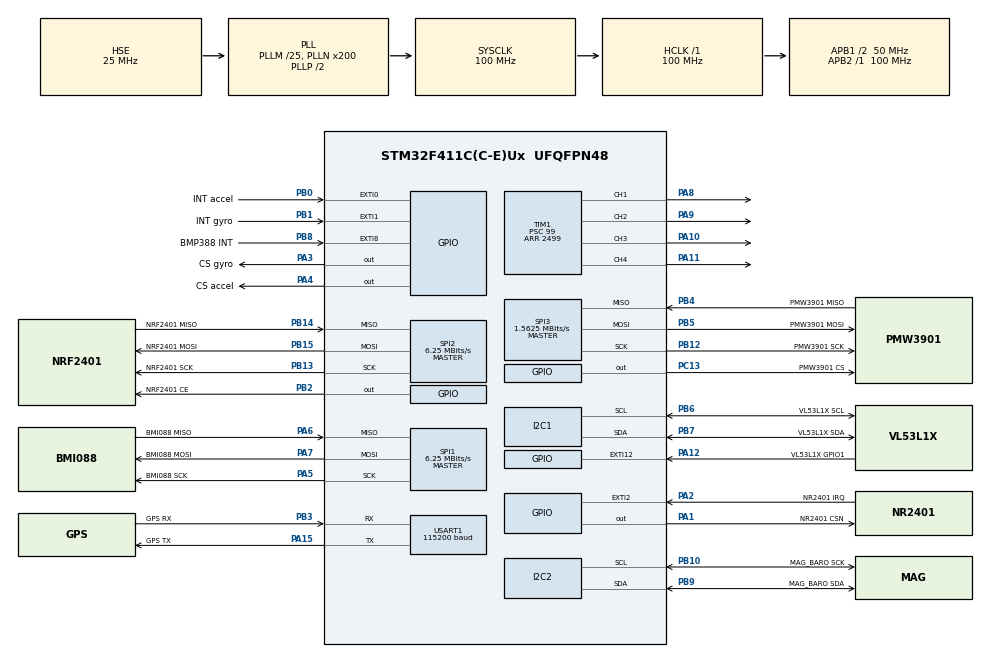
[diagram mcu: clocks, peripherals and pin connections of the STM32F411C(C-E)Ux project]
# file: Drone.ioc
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Dma.I2C1_RX.6.Direction=DMA_PERIPH_TO_MEMORY
Dma.I2C1_RX.6.FIFOMode=DMA_FIFOMODE_DISABLE
Dma.I2C1_RX.6.Instance=DMA1_Stream5
Dma.I2C1_RX.6.MemDataAlignment=DMA_MDATAALIGN_BYTE
Dma.I2C1_RX.6.MemInc=DMA_MINC_ENABLE
Dma.I2C1_RX.6.Mode=DMA_NORMAL
Dma.I2C1_RX.6.PeriphDataAlignment=DMA_PDATAALIGN_BYTE
Dma.I2C1_RX.6.PeriphInc=DMA_PINC_DISABLE
Dma.I2C1_RX.6.Priority=DMA_PRIORITY_HIGH
Dma.I2C2_RX.4.Direction=DMA_PERIPH_TO_MEMORY
Dma.I2C2_RX.4.FIFOMode=DMA_FIFOMODE_DISABLE
Dma.I2C2_RX.4.Instance=DMA1_Stream2
Dma.I2C2_RX.4.MemDataAlignment=DMA_MDATAALIGN_BYTE
Dma.I2C2_RX.4.MemInc=DMA_MINC_ENABLE
Dma.I2C2_RX.4.Mode=DMA_NORMAL
Dma.I2C2_RX.4.PeriphDataAlignment=DMA_PDATAALIGN_BYTE
Dma.I2C2_RX.4.PeriphInc=DMA_PINC_DISABLE
Dma.I2C2_RX.4.Priority=DMA_PRIORITY_HIGH
Dma.Request0=SPI1_RX
Dma.Request1=SPI1_TX
Dma.Request2=SPI2_RX
Dma.Request3=SPI2_TX
Dma.Request4=I2C2_RX
Dma.Request5=SPI3_RX
Dma.Request6=I2C1_RX
Dma.Request7=SPI3_TX
Dma.Request8=USART1_RX
Dma.Request9=USART1_TX
Dma.SPI1_RX.0.Direction=DMA_PERIPH_TO_MEMORY
Dma.SPI1_RX.0.FIFOMode=DMA_FIFOMODE_DISABLE
Dma.SPI1_RX.0.Instance=DMA2_Stream0
Dma.SPI1_RX.0.MemDataAlignment=DMA_MDATAALIGN_BYTE
Dma.SPI1_RX.0.MemInc=DMA_MINC_ENABLE
Dma.SPI1_RX.0.Mode=DMA_NORMAL
Dma.SPI1_RX.0.PeriphDataAlignment=DMA_PDATAALIGN_BYTE
Dma.SPI1_RX.0.PeriphInc=DMA_PINC_DISABLE
Dma.SPI1_RX.0.Priority=DMA_PRIORITY_VERY_HIGH
Dma.SPI1_TX.1.Direction=DMA_MEMORY_TO_PERIPH
Dma.SPI1_TX.1.FIFOMode=DMA_FIFOMODE_DISABLE
Dma.SPI1_TX.1.Instance=DMA2_Stream2
Dma.SPI1_TX.1.MemDataAlignment=DMA_MDATAALIGN_BYTE
Dma.SPI1_TX.1.MemInc=DMA_MINC_ENABLE
Dma.SPI1_TX.1.Mode=DMA_NORMAL
Dma.SPI1_TX.1.PeriphDataAlignment=DMA_PDATAALIGN_BYTE
Dma.SPI1_TX.1.PeriphInc=DMA_PINC_DISABLE
Dma.SPI1_TX.1.Priority=DMA_PRIORITY_VERY_HIGH
Dma.SPI2_RX.2.Direction=DMA_PERIPH_TO_MEMORY
Dma.SPI2_RX.2.FIFOMode=DMA_FIFOMODE_DISABLE
Dma.SPI2_RX.2.Instance=DMA1_Stream3
Dma.SPI2_RX.2.MemDataAlignment=DMA_MDATAALIGN_BYTE
Dma.SPI2_RX.2.MemInc=DMA_MINC_ENABLE
Dma.SPI2_RX.2.Mode=DMA_NORMAL
Dma.SPI2_RX.2.PeriphDataAlignment=DMA_PDATAALIGN_BYTE
Dma.SPI2_RX.2.PeriphInc=DMA_PINC_DISABLE
Dma.SPI2_RX.2.Priority=DMA_PRIORITY_LOW
Dma.SPI2_TX.3.Direction=DMA_MEMORY_TO_PERIPH
Dma.SPI2_TX.3.FIFOMode=DMA_FIFOMODE_DISABLE
Dma.SPI2_TX.3.Instance=DMA1_Stream4
Dma.SPI2_TX.3.MemDataAlignment=DMA_MDATAALIGN_BYTE
Dma.SPI2_TX.3.MemInc=DMA_MINC_ENABLE
Dma.SPI2_TX.3.Mode=DMA_NORMAL
Dma.SPI2_TX.3.PeriphDataAlignment=DMA_PDATAALIGN_BYTE
Dma.SPI2_TX.3.PeriphInc=DMA_PINC_DISABLE
Dma.SPI2_TX.3.Priority=DMA_PRIORITY_LOW
Dma.SPI3_RX.5.Direction=DMA_PERIPH_TO_MEMORY
Dma.SPI3_RX.5.FIFOMode=DMA_FIFOMODE_DISABLE
Dma.SPI3_RX.5.Instance=DMA1_Stream0
Dma.SPI3_RX.5.MemDataAlignment=DMA_MDATAALIGN_BYTE
Dma.SPI3_RX.5.MemInc=DMA_MINC_ENABLE
Dma.SPI3_RX.5.Mode=DMA_NORMAL
Dma.SPI3_RX.5.PeriphDataAlignment=DMA_PDATAALIGN_BYTE
Dma.SPI3_RX.5.PeriphInc=DMA_PINC_DISABLE
Dma.SPI3_RX.5.Priority=DMA_PRIORITY_MEDIUM
Dma.SPI3_TX.7.Direction=DMA_MEMORY_TO_PERIPH
Dma.SPI3_TX.7.FIFOMode=DMA_FIFOMODE_DISABLE
Dma.SPI3_TX.7.Instance=DMA1_Stream7
Dma.SPI3_TX.7.MemDataAlignment=DMA_MDATAALIGN_BYTE
Dma.SPI3_TX.7.MemInc=DMA_MINC_ENABLE
Dma.SPI3_TX.7.Mode=DMA_NORMAL
Dma.SPI3_TX.7.PeriphDataAlignment=DMA_PDATAALIGN_BYTE
Dma.SPI3_TX.7.PeriphInc=DMA_PINC_DISABLE
Dma.SPI3_TX.7.Priority=DMA_PRIORITY_MEDIUM
Dma.USART1_RX.8.Direction=DMA_PERIPH_TO_MEMORY
Dma.USART1_RX.8.FIFOMode=DMA_FIFOMODE_DISABLE
Dma.USART1_RX.8.Instance=DMA2_Stream5
Dma.USART1_RX.8.MemDataAlignment=DMA_MDATAALIGN_BYTE
Dma.USART1_RX.8.MemInc=DMA_MINC_ENABLE
Dma.USART1_RX.8.Mode=DMA_CIRCULAR
Dma.USART1_RX.8.PeriphDataAlignment=DMA_PDATAALIGN_BYTE
Dma.USART1_RX.8.PeriphInc=DMA_PINC_DISABLE
Dma.USART1_RX.8.Priority=DMA_PRIORITY_MEDIUM
Dma.USART1_TX.9.Direction=DMA_MEMORY_TO_PERIPH
Dma.USART1_TX.9.FIFOMode=DMA_FIFOMODE_DISABLE
Dma.USART1_TX.9.Instance=DMA2_Stream7
Dma.USART1_TX.9.MemDataAlignment=DMA_MDATAALIGN_BYTE
Dma.USART1_TX.9.MemInc=DMA_MINC_ENABLE
Dma.USART1_TX.9.Mode=DMA_NORMAL
Dma.USART1_TX.9.PeriphDataAlignment=DMA_PDATAALIGN_BYTE
Dma.USART1_TX.9.PeriphInc=DMA_PINC_DISABLE
Dma.USART1_TX.9.Priority=DMA_PRIORITY_MEDIUM
I2C1.I2C_Mode=I2C_Standard
I2C2.DualAddressMode=I2C_DUALADDRESS_DISABLE
I2C2.I2C_Mode=I2C_Standard
I2C2.NoStretchMode=I2C_NOSTRETCH_DISABLE
Mcu.Family=STM32F4
Mcu.Name=STM32F411C(C-E)Ux
Mcu.Package=UFQFPN48
NVIC.DMA1_Stream0_IRQn=true\:8\:0\:true\:false\:true\:false\:true\:true
NVIC.DMA1_Stream2_IRQn=true\:10\:0\:true\:false\:true\:false\:true\:true
NVIC.DMA1_Stream3_IRQn=true\:9\:0\:true\:false\:true\:false\:true\:true
NVIC.DMA1_Stream4_IRQn=true\:9\:0\:true\:false\:true\:false\:true\:true
NVIC.DMA1_Stream5_IRQn=true\:8\:0\:true\:false\:true\:false\:true\:true
NVIC.DMA1_Stream7_IRQn=true\:8\:0\:true\:false\:true\:false\:true\:true
NVIC.DMA2_Stream0_IRQn=true\:7\:0\:true\:false\:true\:false\:true\:true
NVIC.DMA2_Stream2_IRQn=true\:7\:0\:true\:false\:true\:false\:true\:true
NVIC.DMA2_Stream5_IRQn=true\:11\:0\:true\:false\:true\:false\:true\:true
NVIC.DMA2_Stream7_IRQn=true\:11\:0\:true\:false\:true\:false\:true\:true
NVIC.EXTI0_IRQn=true\:6\:0\:true\:false\:true\:true\:true\:true
NVIC.EXTI15_10_IRQn=true\:8\:0\:true\:false\:true\:true\:true\:true
NVIC.EXTI1_IRQn=true\:6\:0\:true\:false\:true\:true\:true\:true
NVIC.EXTI2_IRQn=true\:7\:0\:true\:false\:true\:true\:true\:true
NVIC.EXTI9_5_IRQn=true\:10\:0\:true\:false\:true\:true\:true\:true
NVIC.I2C1_ER_IRQn=true\:8\:0\:true\:false\:true\:true\:true\:true
NVIC.I2C1_EV_IRQn=true\:8\:0\:true\:false\:true\:true\:true\:true
NVIC.I2C2_ER_IRQn=true\:10\:0\:true\:false\:true\:true\:true\:true
NVIC.I2C2_EV_IRQn=true\:10\:0\:true\:false\:true\:true\:true\:true
NVIC.PriorityGroup=NVIC_PRIORITYGROUP_4
NVIC.TIM1_BRK_TIM9_IRQn=true\:15\:0\:false\:false\:true\:false\:true\:true
NVIC.TimeBase=TIM1_BRK_TIM9_IRQn
NVIC.TimeBaseIP=TIM9
NVIC.USART1_IRQn=true\:11\:0\:true\:false\:true\:true\:true\:true
PA1.GPIO_Label=NR2401 CSN
PA1.GPIO_PuPd=GPIO_PULLUP
PA1.GPIO_Speed=GPIO_SPEED_FREQ_VERY_HIGH
PA1.PinState=GPIO_PIN_SET
PA1.Signal=GPIO_Output
PA10.Signal=S_TIM1_CH3
PA11.Signal=S_TIM1_CH4
PA12.GPIO_Label=VL53L1X GPIO1
PA12.GPIO_ModeDefaultEXTI=GPIO_MODE_IT_FALLING
PA12.GPIO_PuPd=GPIO_PULLUP
PA12.Signal=GPXTI12
PA13.Mode=Serial_Wire
PA13.Signal=SYS_JTMS-SWDIO
PA14.Mode=Serial_Wire
PA14.Signal=SYS_JTCK-SWCLK
PA15.GPIO_Label=GPS TX
PA15.Mode=Asynchronous
PA15.Signal=USART1_TX
PA2.GPIO_Label=NR2401 IRQ
PA2.GPIO_ModeDefaultEXTI=GPIO_MODE_IT_FALLING
PA2.GPIO_PuPd=GPIO_PULLUP
PA2.Signal=GPXTI2
PA3.GPIO_Label=CS gyro
PA3.GPIO_Speed=GPIO_SPEED_FREQ_VERY_HIGH
PA3.PinState=GPIO_PIN_SET
PA3.Signal=GPIO_Output
PA4.GPIO_Label=CS accel
PA4.GPIO_Speed=GPIO_SPEED_FREQ_VERY_HIGH
PA4.PinState=GPIO_PIN_SET
PA4.Signal=GPIO_Output
PA5.GPIO_Label=BMI088 SCK
PA5.Mode=Full_Duplex_Master
PA5.Signal=SPI1_SCK
PA6.GPIO_Label=BMI088 MISO
PA6.Mode=Full_Duplex_Master
PA6.Signal=SPI1_MISO
PA7.GPIO_Label=BMI088 MOSI
PA7.Mode=Full_Duplex_Master
PA7.Signal=SPI1_MOSI
PA8.Signal=S_TIM1_CH1
PA9.Signal=S_TIM1_CH2
PB0.GPIO_Label=INT accel
PB0.GPIO_PuPd=GPIO_PULLDOWN
PB0.Signal=GPXTI0
PB1.GPIO_Label=INT gyro
PB1.GPIO_PuPd=GPIO_PULLDOWN
PB1.Signal=GPXTI1
PB10.GPIO_Label=MAG_BARO SCK
PB10.GPIO_Pu=GPIO_NOPULL
PB10.GPIO_Speed=GPIO_SPEED_FREQ_VERY_HIGH
PB10.Mode=I2C
PB10.Signal=I2C2_SCL
PB12.GPIO_Label=PMW3901 SCK
PB12.Mode=Full_Duplex_Master
PB12.Signal=SPI3_SCK
PB13.GPIO_Label=NRF2401 SCK
PB13.Mode=Full_Duplex_Master
PB13.Signal=SPI2_SCK
PB14.GPIO_Label=NRF2401 MISO
PB14.Mode=Full_Duplex_Master
PB14.Signal=SPI2_MISO
PB15.GPIO_Label=NRF2401 MOSI
PB15.Mode=Full_Duplex_Master
PB15.Signal=SPI2_MOSI
PB2.GPIO_Label=NRF2401 CE
PB2.GPIO_Speed=GPIO_SPEED_FREQ_VERY_HIGH
PB2.Signal=GPIO_Output
PB3.GPIO_Label=GPS RX
PB3.Mode=Asynchronous
PB3.Signal=USART1_RX
PB4.GPIO_Label=PMW3901 MISO
PB4.Mode=Full_Duplex_Master
PB4.Signal=SPI3_MISO
PB5.GPIO_Label=PMW3901 MOSI
PB5.Mode=Full_Duplex_Master
PB5.Signal=SPI3_MOSI
PB6.GPIO_Label=VL53L1X SCL
PB6.GPIO_Pu=GPIO_NOPULL
PB6.Mode=I2C
PB6.Signal=I2C1_SCL
PB7.GPIO_Label=VL53L1X SDA
PB7.GPIO_Pu=GPIO_NOPULL
PB7.Mode=I2C
PB7.Signal=I2C1_SDA
PB8.GPIO_Label=BMP388 INT
PB8.GPIO_PuPd=GPIO_PULLDOWN
PB8.Signal=GPXTI8
PB9.GPIO_Label=MAG_BARO SDA
PB9.GPIO_Pu=GPIO_NOPULL
PB9.GPIO_Speed=GPIO_SPEED_FREQ_VERY_HIGH
PB9.Mode=I2C
PB9.Signal=I2C2_SDA
PC13-ANTI_TAMP.GPIO_Label=PMW3901 CS
PC13-ANTI_TAMP.PinState=GPIO_PIN_SET
PC13-ANTI_TAMP.Signal=GPIO_Output
PH0\ -\ OSC_IN.Mode=HSE-External-Oscillator
PH0\ -\ OSC_IN.Signal=RCC_OSC_IN
PH1\ -\ OSC_OUT.Mode=HSE-External-Oscillator
PH1\ -\ OSC_OUT.Signal=RCC_OSC_OUT
ProjectManager.HeapSize=0x200
ProjectManager.StackSize=0x400
ProjectManager.TargetToolchain=STM32CubeIDE
RCC.48MHZClocksFreq_Value=50000000
RCC.AHBFreq_Value=100000000
RCC.APB1CLKDivider=RCC_HCLK_DIV2
RCC.APB1Freq_Value=50000000
RCC.APB1TimFreq_Value=100000000
RCC.APB2Freq_Value=100000000
RCC.APB2TimFreq_Value=100000000
RCC.CortexFreq_Value=100000000
RCC.HCLKFreq_Value=100000000
RCC.HSE_VALUE=25000000
RCC.HSI_VALUE=16000000
RCC.LSE_VALUE=32768
RCC.PLLM=25
RCC.PLLN=200
RCC.PLLSourceVirtual=RCC_PLLSOURCE_HSE
RCC.SYSCLKFreq_VALUE=100000000
RCC.SYSCLKSource=RCC_SYSCLKSOURCE_PLLCLK
RCC.VCOOutputFreq_Value=200000000
SH.S_TIM1_CH1.0=TIM1_CH1,PWM Generation1 CH1
SH.S_TIM1_CH2.0=TIM1_CH2,PWM Generation2 CH2
SH.S_TIM1_CH3.0=TIM1_CH3,PWM Generation3 CH3
SH.S_TIM1_CH4.0=TIM1_CH4,PWM Generation4 CH4
SPI1.BaudRatePrescaler=SPI_BAUDRATEPRESCALER_16
SPI1.CalculateBaudRate=6.25 MBits/s
SPI1.Direction=SPI_DIRECTION_2LINES
SPI1.Mode=SPI_MODE_MASTER
SPI1.VirtualType=VM_MASTER
SPI2.BaudRatePrescaler=SPI_BAUDRATEPRESCALER_8
SPI2.CalculateBaudRate=6.25 MBits/s
SPI2.Direction=SPI_DIRECTION_2LINES
SPI2.Mode=SPI_MODE_MASTER
SPI2.VirtualType=VM_MASTER
SPI3.BaudRatePrescaler=SPI_BAUDRATEPRESCALER_32
SPI3.CLKPhase=SPI_PHASE_2EDGE
SPI3.CLKPolarity=SPI_POLARITY_HIGH
SPI3.CalculateBaudRate=1.5625 MBits/s
SPI3.Direction=SPI_DIRECTION_2LINES
SPI3.Mode=SPI_MODE_MASTER
SPI3.VirtualType=VM_MASTER
TIM1.AutoReloadPreload=TIM_AUTORELOAD_PRELOAD_ENABLE
TIM1.Channel-PWM\ Generation1\ CH1=TIM_CHANNEL_1
TIM1.Channel-PWM\ Generation2\ CH2=TIM_CHANNEL_2
TIM1.Channel-PWM\ Generation3\ CH3=TIM_CHANNEL_3
TIM1.Channel-PWM\ Generation4\ CH4=TIM_CHANNEL_4
TIM1.OCFastMode_PWM-PWM\ Generation1\ CH1=TIM_OCFAST_ENABLE
TIM1.OCFastMode_PWM-PWM\ Generation2\ CH2=TIM_OCFAST_ENABLE
TIM1.OCFastMode_PWM-PWM\ Generation3\ CH3=TIM_OCFAST_ENABLE
TIM1.OCFastMode_PWM-PWM\ Generation4\ CH4=TIM_OCFAST_ENABLE
TIM1.Period=2499
TIM1.Prescaler=99
TIM1.Pulse-PWM\ Generation1\ CH1=1000
TIM1.Pulse-PWM\ Generation2\ CH2=1000
TIM1.Pulse-PWM\ Generation3\ CH3=1000
TIM1.Pulse-PWM\ Generation4\ CH4=1000
USART1.BaudRate=115200
USART1.VirtualMode=VM_ASYNC
VP_SYS_VS_tim9.Mode=TIM9
board=custom

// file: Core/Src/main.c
/* USER CODE BEGIN Header */
/**
  ******************************************************************************
  * @file           : main.c
  * @brief          : Main program body
  ******************************************************************************
  * @attention
  *
  * Copyright (c) 2026 STMicroelectronics.
  * All rights reserved.
  *
  * This software is licensed under terms that can be found in the LICENSE file
  * in the root directory of this software component.
  * If no LICENSE file comes with this software, it is provided AS-IS.
  *
  ******************************************************************************
  */
/* USER CODE END Header */
#include "main.h"
#include "dma.h"
#include "i2c.h"
#include "spi.h"
#include "tim.h"
#include "usart.h"
#include "gpio.h"

/* USER CODE BEGIN Includes */
#include "FreeRTOSConfig.h"
#include "FreeRTOS.h"
#include "task.h"
#include "bmi088.h"
#include "bmi088_port.h"
#include "bmi088_task.h"
#include "qmc5883_task.h"
#include "app.h"
#include "attitude_estimator_task.h"
#include "attitude_controller_task.h"
#include "rate_controller_task.h"
#include "magbaro_task.h"
#include "altitude_estimator_task.h"
#include "altitude_controller_task.h"
#include "position_estimator_task.h"
#include "position_controller_task.h"
#include "rc_task.h"
#include "nrf24.h"
#include "debug_task.h"
#include "bmp388.h"
#include "rangeflow_task.h"
#include "gps_task.h"
/* USER CODE END Includes */

/* USER CODE BEGIN PV */

extern BMI088_Handle_t bmi088;
TaskHandle_t imuTaskHandle;

/* USER CODE END PV */

void SystemClock_Config(void);

/* USER CODE BEGIN 0 */

void vApplicationStackOverflowHook(TaskHandle_t xTask, char *pcTaskName){
    while(1){
        // debug stack overflow
    }
}

//void HAL_UART_TxCpltCallback(UART_HandleTypeDef *huart)
//{
//    if (huart == &huart1)
//    {
//
//    }
//}
void HAL_SPI_TxRxCpltCallback(SPI_HandleTypeDef *hspi){
    if(hspi == &hspi2){
      NRF24_DMA_Callback(hspi);
      return;
    }
    if(hspi == &PMW3901_SPI){
      PMW3901_DMA_Callback(hspi);
      return;
    }
    if(hspi != &hspi1) return;
    if(bmi088.imuTask == NULL) return;
    BMI088_DMA_Callback(hspi);
}

static void I2C_TransferDone(I2C_HandleTypeDef *hi2c){
    if(hi2c == &VL53L1X_I2C){
        VL53L1X_DMA_Callback(hi2c);
        return;
    }
    if(hi2c != &hi2c2) return;
    if(hi2c->Devaddress == QMC5883_I2C_ADDR) QMC5883_DMA_Callback(hi2c);
    else if(hi2c->Devaddress == bmp388.addr) BMP388_DMA_Callback(hi2c);
}

void HAL_I2C_MemRxCpltCallback(I2C_HandleTypeDef *hi2c){
    I2C_TransferDone(hi2c);
}

void HAL_I2C_MemTxCpltCallback(I2C_HandleTypeDef *hi2c){
    I2C_TransferDone(hi2c);
}

void HAL_I2C_ErrorCallback(I2C_HandleTypeDef *hi2c){
    I2C_TransferDone(hi2c);
}

void HAL_GPIO_EXTI_Callback(uint16_t GPIO_Pin){

  if(GPIO_Pin == NRF24_IRQ_PIN){
      NRF24_IRQ_Handler();
      return;
  }

  if(GPIO_Pin == BMP388_INT_PIN){
      BMP388_IRQ_Handler();
      return;
  }

  if(GPIO_Pin == VL53L1X_INT_PIN){
      VL53L1X_IRQ_Handler();
      return;
  }

  if(bmi088.imuTask == NULL) return;

  BaseType_t hpw = pdFALSE;

	if(GPIO_Pin == BMI088_GYRO_INT_Pin){
		bmi088.gyroIrqCycles = DWT->CYCCNT;
		if(bmi088.gyroReady == false){
			bmi088.gyroReady = true;
			vTaskNotifyGiveFromISR(bmi088.imuTask, &hpw);
		}
	}
    if(GPIO_Pin == BMI088_ACCEL_INT_Pin){
    	bmi088.accelIrqCycles = DWT->CYCCNT;
    	if(bmi088.accelReady == false){
			bmi088.accelReady = true;
			vTaskNotifyGiveFromISR(bmi088.imuTask, &hpw);
    	}
    }
    portYIELD_FROM_ISR(hpw);
}

void DWT_Init(void){
    CoreDebug->DEMCR |= CoreDebug_DEMCR_TRCENA_Msk;
    DWT->CYCCNT = 0;
    DWT->CTRL |= DWT_CTRL_CYCCNTENA_Msk;
}

/* USER CODE END 0 */

int main(void)
{

  /* MCU Configuration--------------------------------------------------------*/

  /* Reset of all peripherals, Initializes the Flash interface and the Systick. */
  HAL_Init();

  /* Configure the system clock */
  SystemClock_Config();

  /* USER CODE BEGIN SysInit */
  DWT_Init();
  /* USER CODE END SysInit */

  /* Initialize all configured peripherals */
  MX_GPIO_Init();
  MX_DMA_Init();
  MX_SPI1_Init();
  MX_I2C2_Init();
  MX_SPI2_Init();
  MX_SPI3_Init();
  MX_TIM1_Init();
  MX_I2C1_Init();
  MX_USART1_UART_Init();
  /* USER CODE BEGIN 2 */
  MotorOutput_Init();
  //ESC_Calibrate(); /* Dont know why it hangs */
  App_Init();

	xTaskCreate(IMUTask, "IMU", STACK_IMU, NULL, TASK_PRIO_IMU, &imuTaskHandle);
	xTaskCreate(AttitudeEstimatorTask, "ATTEST", STACK_ATT_ESTIMATOR, NULL, TASK_PRIO_ATT_ESTIMATOR, NULL);
	xTaskCreate(AttitudeControllerTask, "ATTCTRL", STACK_ATTITUDE_CTRL, NULL, TASK_PRIO_ATT_CTRL, NULL);
	xTaskCreate(RateControllerTask, "RATECTRL", STACK_RATE, NULL, TASK_PRIO_RATE, NULL);
	xTaskCreate(AltitudeEstimatorTask, "ALTEST", STACK_ALT_ESTIMATOR, NULL, TASK_PRIO_ALT_ESTIMATOR, NULL);
	xTaskCreate(AltitudeControllerTask, "ALTCTRL", STACK_ALT_CTRL, NULL, TASK_PRIO_ALT_CTRL, NULL);
  xTaskCreate(PositionEstimatorTask, "POSEST", STACK_POS_ESTIMATOR, NULL, TASK_PRIO_POS_ESTIMATOR, NULL);
	xTaskCreate(PositionControllerTask, "POSCTRL", STACK_POS_CTRL, NULL, TASK_PRIO_POS_CTRL, NULL);
	//xTaskCreate(MagTask, "MAG", STACK_MAG, NULL, TASK_PRIO_MAG, NULL);
	xTaskCreate(MagBaroTask, "MAGBARO", STACK_MAGBARO, NULL, TASK_PRIO_MAGBARO, NULL);
	xTaskCreate(RCTask, "RC", STACK_RC, NULL, TASK_PRIO_RC, NULL);
	xTaskCreate(RangeFlowTask, "RANGEFLOW", STACK_RANGEFLOW, NULL, TASK_PRIO_RANGEFLOW, NULL);
  xTaskCreate(GpsTask, "GPS", STACK_GPS, NULL, TASK_PRIO_GPS, NULL);
#if DEBUG_PRINT
	xTaskCreate(DebugTask, "DEBUG", STACK_DEBUG, NULL, TASK_PRIO_DEBUG, NULL);
#endif
	vTaskStartScheduler();

  /* USER CODE END 2 */

  /* Infinite loop */
  while (1)
  {

  }
}

void SystemClock_Config(void)
{
  RCC_OscInitTypeDef RCC_OscInitStruct = {0};
  RCC_ClkInitTypeDef RCC_ClkInitStruct = {0};

  /** Configure the main internal regulator output voltage
  */
  __HAL_RCC_PWR_CLK_ENABLE();
  __HAL_PWR_VOLTAGESCALING_CONFIG(PWR_REGULATOR_VOLTAGE_SCALE1);

  /** Initializes the RCC Oscillators according to the specified parameters
  * in the RCC_OscInitTypeDef structure.
  */
  RCC_OscInitStruct.OscillatorType = RCC_OSCILLATORTYPE_HSE;
  RCC_OscInitStruct.HSEState = RCC_HSE_ON;
  RCC_OscInitStruct.PLL.PLLState = RCC_PLL_ON;
  RCC_OscInitStruct.PLL.PLLSource = RCC_PLLSOURCE_HSE;
  RCC_OscInitStruct.PLL.PLLM = 25;
  RCC_OscInitStruct.PLL.PLLN = 200;
  RCC_OscInitStruct.PLL.PLLP = RCC_PLLP_DIV2;
  RCC_OscInitStruct.PLL.PLLQ = 4;
  if (HAL_RCC_OscConfig(&RCC_OscInitStruct) != HAL_OK)
  {
    Error_Handler();
  }

  /** Initializes the CPU, AHB and APB buses clocks
  */
  RCC_ClkInitStruct.ClockType = RCC_CLOCKTYPE_HCLK|RCC_CLOCKTYPE_SYSCLK
                              |RCC_CLOCKTYPE_PCLK1|RCC_CLOCKTYPE_PCLK2;
  RCC_ClkInitStruct.SYSCLKSource = RCC_SYSCLKSOURCE_PLLCLK;
  RCC_ClkInitStruct.AHBCLKDivider = RCC_SYSCLK_DIV1;
  RCC_ClkInitStruct.APB1CLKDivider = RCC_HCLK_DIV2;
  RCC_ClkInitStruct.APB2CLKDivider = RCC_HCLK_DIV1;

  if (HAL_RCC_ClockConfig(&RCC_ClkInitStruct, FLASH_LATENCY_3) != HAL_OK)
  {
    Error_Handler();
  }
}

void HAL_TIM_PeriodElapsedCallback(TIM_HandleTypeDef *htim)
{
  if (htim->Instance == TIM9)
  {
    HAL_IncTick();
  }
}

void Error_Handler(void)
{
  __disable_irq();
  while (1)
  {
  }
}
